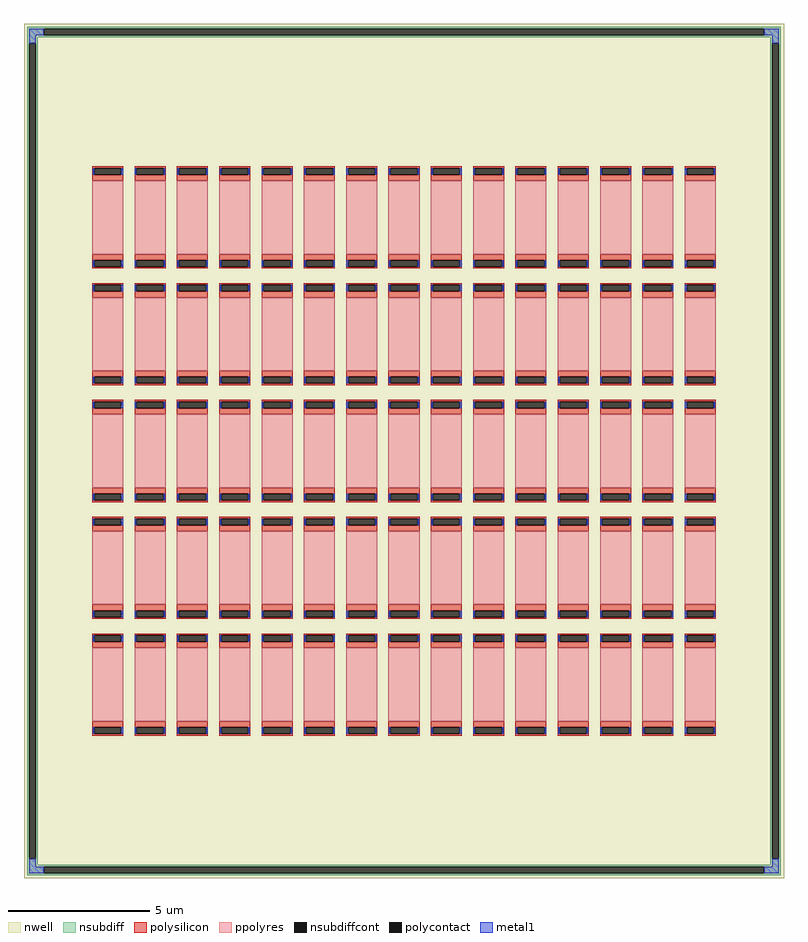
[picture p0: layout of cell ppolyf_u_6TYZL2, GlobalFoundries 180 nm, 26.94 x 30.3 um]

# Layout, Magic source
magic
tech gf180mcuC
magscale 1 10
<< nwell >>
rect -2694 -3030 2694 3030
<< nsubdiff >>
rect -2670 2993 2670 3006
rect -2670 2947 -2554 2993
rect 2554 2947 2670 2993
rect -2670 2934 2670 2947
rect -2670 2890 -2598 2934
rect -2670 -2890 -2657 2890
rect -2611 -2890 -2598 2890
rect 2598 2890 2670 2934
rect -2670 -2934 -2598 -2890
rect 2598 -2890 2611 2890
rect 2657 -2890 2670 2890
rect 2598 -2934 2670 -2890
rect -2670 -2947 2670 -2934
rect -2670 -2993 -2554 -2947
rect 2554 -2993 2670 -2947
rect -2670 -3006 2670 -2993
<< nsubdiffcont >>
rect -2554 2947 2554 2993
rect -2657 -2890 -2611 2890
rect 2611 -2890 2657 2890
rect -2554 -2993 2554 -2947
<< polysilicon >>
rect -2210 2005 -1990 2018
rect -2210 1959 -2197 2005
rect -2003 1959 -1990 2005
rect -2210 1916 -1990 1959
rect -2210 1353 -1990 1396
rect -2210 1307 -2197 1353
rect -2003 1307 -1990 1353
rect -2210 1294 -1990 1307
rect -1910 2005 -1690 2018
rect -1910 1959 -1897 2005
rect -1703 1959 -1690 2005
rect -1910 1916 -1690 1959
rect -1910 1353 -1690 1396
rect -1910 1307 -1897 1353
rect -1703 1307 -1690 1353
rect -1910 1294 -1690 1307
rect -1610 2005 -1390 2018
rect -1610 1959 -1597 2005
rect -1403 1959 -1390 2005
rect -1610 1916 -1390 1959
rect -1610 1353 -1390 1396
rect -1610 1307 -1597 1353
rect -1403 1307 -1390 1353
rect -1610 1294 -1390 1307
rect -1310 2005 -1090 2018
rect -1310 1959 -1297 2005
rect -1103 1959 -1090 2005
rect -1310 1916 -1090 1959
rect -1310 1353 -1090 1396
rect -1310 1307 -1297 1353
rect -1103 1307 -1090 1353
rect -1310 1294 -1090 1307
rect -1010 2005 -790 2018
rect -1010 1959 -997 2005
rect -803 1959 -790 2005
rect -1010 1916 -790 1959
rect -1010 1353 -790 1396
rect -1010 1307 -997 1353
rect -803 1307 -790 1353
rect -1010 1294 -790 1307
rect -710 2005 -490 2018
rect -710 1959 -697 2005
rect -503 1959 -490 2005
rect -710 1916 -490 1959
rect -710 1353 -490 1396
rect -710 1307 -697 1353
rect -503 1307 -490 1353
rect -710 1294 -490 1307
rect -410 2005 -190 2018
rect -410 1959 -397 2005
rect -203 1959 -190 2005
rect -410 1916 -190 1959
rect -410 1353 -190 1396
rect -410 1307 -397 1353
rect -203 1307 -190 1353
rect -410 1294 -190 1307
rect -110 2005 110 2018
rect -110 1959 -97 2005
rect 97 1959 110 2005
rect -110 1916 110 1959
rect -110 1353 110 1396
rect -110 1307 -97 1353
rect 97 1307 110 1353
rect -110 1294 110 1307
rect 190 2005 410 2018
rect 190 1959 203 2005
rect 397 1959 410 2005
rect 190 1916 410 1959
rect 190 1353 410 1396
rect 190 1307 203 1353
rect 397 1307 410 1353
rect 190 1294 410 1307
rect 490 2005 710 2018
rect 490 1959 503 2005
rect 697 1959 710 2005
rect 490 1916 710 1959
rect 490 1353 710 1396
rect 490 1307 503 1353
rect 697 1307 710 1353
rect 490 1294 710 1307
rect 790 2005 1010 2018
rect 790 1959 803 2005
rect 997 1959 1010 2005
rect 790 1916 1010 1959
rect 790 1353 1010 1396
rect 790 1307 803 1353
rect 997 1307 1010 1353
rect 790 1294 1010 1307
rect 1090 2005 1310 2018
rect 1090 1959 1103 2005
rect 1297 1959 1310 2005
rect 1090 1916 1310 1959
rect 1090 1353 1310 1396
rect 1090 1307 1103 1353
rect 1297 1307 1310 1353
rect 1090 1294 1310 1307
rect 1390 2005 1610 2018
rect 1390 1959 1403 2005
rect 1597 1959 1610 2005
rect 1390 1916 1610 1959
rect 1390 1353 1610 1396
rect 1390 1307 1403 1353
rect 1597 1307 1610 1353
rect 1390 1294 1610 1307
rect 1690 2005 1910 2018
rect 1690 1959 1703 2005
rect 1897 1959 1910 2005
rect 1690 1916 1910 1959
rect 1690 1353 1910 1396
rect 1690 1307 1703 1353
rect 1897 1307 1910 1353
rect 1690 1294 1910 1307
rect 1990 2005 2210 2018
rect 1990 1959 2003 2005
rect 2197 1959 2210 2005
rect 1990 1916 2210 1959
rect 1990 1353 2210 1396
rect 1990 1307 2003 1353
rect 2197 1307 2210 1353
rect 1990 1294 2210 1307
rect -2210 1177 -1990 1190
rect -2210 1131 -2197 1177
rect -2003 1131 -1990 1177
rect -2210 1088 -1990 1131
rect -2210 525 -1990 568
rect -2210 479 -2197 525
rect -2003 479 -1990 525
rect -2210 466 -1990 479
rect -1910 1177 -1690 1190
rect -1910 1131 -1897 1177
rect -1703 1131 -1690 1177
rect -1910 1088 -1690 1131
rect -1910 525 -1690 568
rect -1910 479 -1897 525
rect -1703 479 -1690 525
rect -1910 466 -1690 479
rect -1610 1177 -1390 1190
rect -1610 1131 -1597 1177
rect -1403 1131 -1390 1177
rect -1610 1088 -1390 1131
rect -1610 525 -1390 568
rect -1610 479 -1597 525
rect -1403 479 -1390 525
rect -1610 466 -1390 479
rect -1310 1177 -1090 1190
rect -1310 1131 -1297 1177
rect -1103 1131 -1090 1177
rect -1310 1088 -1090 1131
rect -1310 525 -1090 568
rect -1310 479 -1297 525
rect -1103 479 -1090 525
rect -1310 466 -1090 479
rect -1010 1177 -790 1190
rect -1010 1131 -997 1177
rect -803 1131 -790 1177
rect -1010 1088 -790 1131
rect -1010 525 -790 568
rect -1010 479 -997 525
rect -803 479 -790 525
rect -1010 466 -790 479
rect -710 1177 -490 1190
rect -710 1131 -697 1177
rect -503 1131 -490 1177
rect -710 1088 -490 1131
rect -710 525 -490 568
rect -710 479 -697 525
rect -503 479 -490 525
rect -710 466 -490 479
rect -410 1177 -190 1190
rect -410 1131 -397 1177
rect -203 1131 -190 1177
rect -410 1088 -190 1131
rect -410 525 -190 568
rect -410 479 -397 525
rect -203 479 -190 525
rect -410 466 -190 479
rect -110 1177 110 1190
rect -110 1131 -97 1177
rect 97 1131 110 1177
rect -110 1088 110 1131
rect -110 525 110 568
rect -110 479 -97 525
rect 97 479 110 525
rect -110 466 110 479
rect 190 1177 410 1190
rect 190 1131 203 1177
rect 397 1131 410 1177
rect 190 1088 410 1131
rect 190 525 410 568
rect 190 479 203 525
rect 397 479 410 525
rect 190 466 410 479
rect 490 1177 710 1190
rect 490 1131 503 1177
rect 697 1131 710 1177
rect 490 1088 710 1131
rect 490 525 710 568
rect 490 479 503 525
rect 697 479 710 525
rect 490 466 710 479
rect 790 1177 1010 1190
rect 790 1131 803 1177
rect 997 1131 1010 1177
rect 790 1088 1010 1131
rect 790 525 1010 568
rect 790 479 803 525
rect 997 479 1010 525
rect 790 466 1010 479
rect 1090 1177 1310 1190
rect 1090 1131 1103 1177
rect 1297 1131 1310 1177
rect 1090 1088 1310 1131
rect 1090 525 1310 568
rect 1090 479 1103 525
rect 1297 479 1310 525
rect 1090 466 1310 479
rect 1390 1177 1610 1190
rect 1390 1131 1403 1177
rect 1597 1131 1610 1177
rect 1390 1088 1610 1131
rect 1390 525 1610 568
rect 1390 479 1403 525
rect 1597 479 1610 525
rect 1390 466 1610 479
rect 1690 1177 1910 1190
rect 1690 1131 1703 1177
rect 1897 1131 1910 1177
rect 1690 1088 1910 1131
rect 1690 525 1910 568
rect 1690 479 1703 525
rect 1897 479 1910 525
rect 1690 466 1910 479
rect 1990 1177 2210 1190
rect 1990 1131 2003 1177
rect 2197 1131 2210 1177
rect 1990 1088 2210 1131
rect 1990 525 2210 568
rect 1990 479 2003 525
rect 2197 479 2210 525
rect 1990 466 2210 479
rect -2210 349 -1990 362
rect -2210 303 -2197 349
rect -2003 303 -1990 349
rect -2210 260 -1990 303
rect -2210 -303 -1990 -260
rect -2210 -349 -2197 -303
rect -2003 -349 -1990 -303
rect -2210 -362 -1990 -349
rect -1910 349 -1690 362
rect -1910 303 -1897 349
rect -1703 303 -1690 349
rect -1910 260 -1690 303
rect -1910 -303 -1690 -260
rect -1910 -349 -1897 -303
rect -1703 -349 -1690 -303
rect -1910 -362 -1690 -349
rect -1610 349 -1390 362
rect -1610 303 -1597 349
rect -1403 303 -1390 349
rect -1610 260 -1390 303
rect -1610 -303 -1390 -260
rect -1610 -349 -1597 -303
rect -1403 -349 -1390 -303
rect -1610 -362 -1390 -349
rect -1310 349 -1090 362
rect -1310 303 -1297 349
rect -1103 303 -1090 349
rect -1310 260 -1090 303
rect -1310 -303 -1090 -260
rect -1310 -349 -1297 -303
rect -1103 -349 -1090 -303
rect -1310 -362 -1090 -349
rect -1010 349 -790 362
rect -1010 303 -997 349
rect -803 303 -790 349
rect -1010 260 -790 303
rect -1010 -303 -790 -260
rect -1010 -349 -997 -303
rect -803 -349 -790 -303
rect -1010 -362 -790 -349
rect -710 349 -490 362
rect -710 303 -697 349
rect -503 303 -490 349
rect -710 260 -490 303
rect -710 -303 -490 -260
rect -710 -349 -697 -303
rect -503 -349 -490 -303
rect -710 -362 -490 -349
rect -410 349 -190 362
rect -410 303 -397 349
rect -203 303 -190 349
rect -410 260 -190 303
rect -410 -303 -190 -260
rect -410 -349 -397 -303
rect -203 -349 -190 -303
rect -410 -362 -190 -349
rect -110 349 110 362
rect -110 303 -97 349
rect 97 303 110 349
rect -110 260 110 303
rect -110 -303 110 -260
rect -110 -349 -97 -303
rect 97 -349 110 -303
rect -110 -362 110 -349
rect 190 349 410 362
rect 190 303 203 349
rect 397 303 410 349
rect 190 260 410 303
rect 190 -303 410 -260
rect 190 -349 203 -303
rect 397 -349 410 -303
rect 190 -362 410 -349
rect 490 349 710 362
rect 490 303 503 349
rect 697 303 710 349
rect 490 260 710 303
rect 490 -303 710 -260
rect 490 -349 503 -303
rect 697 -349 710 -303
rect 490 -362 710 -349
rect 790 349 1010 362
rect 790 303 803 349
rect 997 303 1010 349
rect 790 260 1010 303
rect 790 -303 1010 -260
rect 790 -349 803 -303
rect 997 -349 1010 -303
rect 790 -362 1010 -349
rect 1090 349 1310 362
rect 1090 303 1103 349
rect 1297 303 1310 349
rect 1090 260 1310 303
rect 1090 -303 1310 -260
rect 1090 -349 1103 -303
rect 1297 -349 1310 -303
rect 1090 -362 1310 -349
rect 1390 349 1610 362
rect 1390 303 1403 349
rect 1597 303 1610 349
rect 1390 260 1610 303
rect 1390 -303 1610 -260
rect 1390 -349 1403 -303
rect 1597 -349 1610 -303
rect 1390 -362 1610 -349
rect 1690 349 1910 362
rect 1690 303 1703 349
rect 1897 303 1910 349
rect 1690 260 1910 303
rect 1690 -303 1910 -260
rect 1690 -349 1703 -303
rect 1897 -349 1910 -303
rect 1690 -362 1910 -349
rect 1990 349 2210 362
rect 1990 303 2003 349
rect 2197 303 2210 349
rect 1990 260 2210 303
rect 1990 -303 2210 -260
rect 1990 -349 2003 -303
rect 2197 -349 2210 -303
rect 1990 -362 2210 -349
rect -2210 -479 -1990 -466
rect -2210 -525 -2197 -479
rect -2003 -525 -1990 -479
rect -2210 -568 -1990 -525
rect -2210 -1131 -1990 -1088
rect -2210 -1177 -2197 -1131
rect -2003 -1177 -1990 -1131
rect -2210 -1190 -1990 -1177
rect -1910 -479 -1690 -466
rect -1910 -525 -1897 -479
rect -1703 -525 -1690 -479
rect -1910 -568 -1690 -525
rect -1910 -1131 -1690 -1088
rect -1910 -1177 -1897 -1131
rect -1703 -1177 -1690 -1131
rect -1910 -1190 -1690 -1177
rect -1610 -479 -1390 -466
rect -1610 -525 -1597 -479
rect -1403 -525 -1390 -479
rect -1610 -568 -1390 -525
rect -1610 -1131 -1390 -1088
rect -1610 -1177 -1597 -1131
rect -1403 -1177 -1390 -1131
rect -1610 -1190 -1390 -1177
rect -1310 -479 -1090 -466
rect -1310 -525 -1297 -479
rect -1103 -525 -1090 -479
rect -1310 -568 -1090 -525
rect -1310 -1131 -1090 -1088
rect -1310 -1177 -1297 -1131
rect -1103 -1177 -1090 -1131
rect -1310 -1190 -1090 -1177
rect -1010 -479 -790 -466
rect -1010 -525 -997 -479
rect -803 -525 -790 -479
rect -1010 -568 -790 -525
rect -1010 -1131 -790 -1088
rect -1010 -1177 -997 -1131
rect -803 -1177 -790 -1131
rect -1010 -1190 -790 -1177
rect -710 -479 -490 -466
rect -710 -525 -697 -479
rect -503 -525 -490 -479
rect -710 -568 -490 -525
rect -710 -1131 -490 -1088
rect -710 -1177 -697 -1131
rect -503 -1177 -490 -1131
rect -710 -1190 -490 -1177
rect -410 -479 -190 -466
rect -410 -525 -397 -479
rect -203 -525 -190 -479
rect -410 -568 -190 -525
rect -410 -1131 -190 -1088
rect -410 -1177 -397 -1131
rect -203 -1177 -190 -1131
rect -410 -1190 -190 -1177
rect -110 -479 110 -466
rect -110 -525 -97 -479
rect 97 -525 110 -479
rect -110 -568 110 -525
rect -110 -1131 110 -1088
rect -110 -1177 -97 -1131
rect 97 -1177 110 -1131
rect -110 -1190 110 -1177
rect 190 -479 410 -466
rect 190 -525 203 -479
rect 397 -525 410 -479
rect 190 -568 410 -525
rect 190 -1131 410 -1088
rect 190 -1177 203 -1131
rect 397 -1177 410 -1131
rect 190 -1190 410 -1177
rect 490 -479 710 -466
rect 490 -525 503 -479
rect 697 -525 710 -479
rect 490 -568 710 -525
rect 490 -1131 710 -1088
rect 490 -1177 503 -1131
rect 697 -1177 710 -1131
rect 490 -1190 710 -1177
rect 790 -479 1010 -466
rect 790 -525 803 -479
rect 997 -525 1010 -479
rect 790 -568 1010 -525
rect 790 -1131 1010 -1088
rect 790 -1177 803 -1131
rect 997 -1177 1010 -1131
rect 790 -1190 1010 -1177
rect 1090 -479 1310 -466
rect 1090 -525 1103 -479
rect 1297 -525 1310 -479
rect 1090 -568 1310 -525
rect 1090 -1131 1310 -1088
rect 1090 -1177 1103 -1131
rect 1297 -1177 1310 -1131
rect 1090 -1190 1310 -1177
rect 1390 -479 1610 -466
rect 1390 -525 1403 -479
rect 1597 -525 1610 -479
rect 1390 -568 1610 -525
rect 1390 -1131 1610 -1088
rect 1390 -1177 1403 -1131
rect 1597 -1177 1610 -1131
rect 1390 -1190 1610 -1177
rect 1690 -479 1910 -466
rect 1690 -525 1703 -479
rect 1897 -525 1910 -479
rect 1690 -568 1910 -525
rect 1690 -1131 1910 -1088
rect 1690 -1177 1703 -1131
rect 1897 -1177 1910 -1131
rect 1690 -1190 1910 -1177
rect 1990 -479 2210 -466
rect 1990 -525 2003 -479
rect 2197 -525 2210 -479
rect 1990 -568 2210 -525
rect 1990 -1131 2210 -1088
rect 1990 -1177 2003 -1131
rect 2197 -1177 2210 -1131
rect 1990 -1190 2210 -1177
rect -2210 -1307 -1990 -1294
rect -2210 -1353 -2197 -1307
rect -2003 -1353 -1990 -1307
rect -2210 -1396 -1990 -1353
rect -2210 -1959 -1990 -1916
rect -2210 -2005 -2197 -1959
rect -2003 -2005 -1990 -1959
rect -2210 -2018 -1990 -2005
rect -1910 -1307 -1690 -1294
rect -1910 -1353 -1897 -1307
rect -1703 -1353 -1690 -1307
rect -1910 -1396 -1690 -1353
rect -1910 -1959 -1690 -1916
rect -1910 -2005 -1897 -1959
rect -1703 -2005 -1690 -1959
rect -1910 -2018 -1690 -2005
rect -1610 -1307 -1390 -1294
rect -1610 -1353 -1597 -1307
rect -1403 -1353 -1390 -1307
rect -1610 -1396 -1390 -1353
rect -1610 -1959 -1390 -1916
rect -1610 -2005 -1597 -1959
rect -1403 -2005 -1390 -1959
rect -1610 -2018 -1390 -2005
rect -1310 -1307 -1090 -1294
rect -1310 -1353 -1297 -1307
rect -1103 -1353 -1090 -1307
rect -1310 -1396 -1090 -1353
rect -1310 -1959 -1090 -1916
rect -1310 -2005 -1297 -1959
rect -1103 -2005 -1090 -1959
rect -1310 -2018 -1090 -2005
rect -1010 -1307 -790 -1294
rect -1010 -1353 -997 -1307
rect -803 -1353 -790 -1307
rect -1010 -1396 -790 -1353
rect -1010 -1959 -790 -1916
rect -1010 -2005 -997 -1959
rect -803 -2005 -790 -1959
rect -1010 -2018 -790 -2005
rect -710 -1307 -490 -1294
rect -710 -1353 -697 -1307
rect -503 -1353 -490 -1307
rect -710 -1396 -490 -1353
rect -710 -1959 -490 -1916
rect -710 -2005 -697 -1959
rect -503 -2005 -490 -1959
rect -710 -2018 -490 -2005
rect -410 -1307 -190 -1294
rect -410 -1353 -397 -1307
rect -203 -1353 -190 -1307
rect -410 -1396 -190 -1353
rect -410 -1959 -190 -1916
rect -410 -2005 -397 -1959
rect -203 -2005 -190 -1959
rect -410 -2018 -190 -2005
rect -110 -1307 110 -1294
rect -110 -1353 -97 -1307
rect 97 -1353 110 -1307
rect -110 -1396 110 -1353
rect -110 -1959 110 -1916
rect -110 -2005 -97 -1959
rect 97 -2005 110 -1959
rect -110 -2018 110 -2005
rect 190 -1307 410 -1294
rect 190 -1353 203 -1307
rect 397 -1353 410 -1307
rect 190 -1396 410 -1353
rect 190 -1959 410 -1916
rect 190 -2005 203 -1959
rect 397 -2005 410 -1959
rect 190 -2018 410 -2005
rect 490 -1307 710 -1294
rect 490 -1353 503 -1307
rect 697 -1353 710 -1307
rect 490 -1396 710 -1353
rect 490 -1959 710 -1916
rect 490 -2005 503 -1959
rect 697 -2005 710 -1959
rect 490 -2018 710 -2005
rect 790 -1307 1010 -1294
rect 790 -1353 803 -1307
rect 997 -1353 1010 -1307
rect 790 -1396 1010 -1353
rect 790 -1959 1010 -1916
rect 790 -2005 803 -1959
rect 997 -2005 1010 -1959
rect 790 -2018 1010 -2005
rect 1090 -1307 1310 -1294
rect 1090 -1353 1103 -1307
rect 1297 -1353 1310 -1307
rect 1090 -1396 1310 -1353
rect 1090 -1959 1310 -1916
rect 1090 -2005 1103 -1959
rect 1297 -2005 1310 -1959
rect 1090 -2018 1310 -2005
rect 1390 -1307 1610 -1294
rect 1390 -1353 1403 -1307
rect 1597 -1353 1610 -1307
rect 1390 -1396 1610 -1353
rect 1390 -1959 1610 -1916
rect 1390 -2005 1403 -1959
rect 1597 -2005 1610 -1959
rect 1390 -2018 1610 -2005
rect 1690 -1307 1910 -1294
rect 1690 -1353 1703 -1307
rect 1897 -1353 1910 -1307
rect 1690 -1396 1910 -1353
rect 1690 -1959 1910 -1916
rect 1690 -2005 1703 -1959
rect 1897 -2005 1910 -1959
rect 1690 -2018 1910 -2005
rect 1990 -1307 2210 -1294
rect 1990 -1353 2003 -1307
rect 2197 -1353 2210 -1307
rect 1990 -1396 2210 -1353
rect 1990 -1959 2210 -1916
rect 1990 -2005 2003 -1959
rect 2197 -2005 2210 -1959
rect 1990 -2018 2210 -2005
<< polycontact >>
rect -2197 1959 -2003 2005
rect -2197 1307 -2003 1353
rect -1897 1959 -1703 2005
rect -1897 1307 -1703 1353
rect -1597 1959 -1403 2005
rect -1597 1307 -1403 1353
rect -1297 1959 -1103 2005
rect -1297 1307 -1103 1353
rect -997 1959 -803 2005
rect -997 1307 -803 1353
rect -697 1959 -503 2005
rect -697 1307 -503 1353
rect -397 1959 -203 2005
rect -397 1307 -203 1353
rect -97 1959 97 2005
rect -97 1307 97 1353
rect 203 1959 397 2005
rect 203 1307 397 1353
rect 503 1959 697 2005
rect 503 1307 697 1353
rect 803 1959 997 2005
rect 803 1307 997 1353
rect 1103 1959 1297 2005
rect 1103 1307 1297 1353
rect 1403 1959 1597 2005
rect 1403 1307 1597 1353
rect 1703 1959 1897 2005
rect 1703 1307 1897 1353
rect 2003 1959 2197 2005
rect 2003 1307 2197 1353
rect -2197 1131 -2003 1177
rect -2197 479 -2003 525
rect -1897 1131 -1703 1177
rect -1897 479 -1703 525
rect -1597 1131 -1403 1177
rect -1597 479 -1403 525
rect -1297 1131 -1103 1177
rect -1297 479 -1103 525
rect -997 1131 -803 1177
rect -997 479 -803 525
rect -697 1131 -503 1177
rect -697 479 -503 525
rect -397 1131 -203 1177
rect -397 479 -203 525
rect -97 1131 97 1177
rect -97 479 97 525
rect 203 1131 397 1177
rect 203 479 397 525
rect 503 1131 697 1177
rect 503 479 697 525
rect 803 1131 997 1177
rect 803 479 997 525
rect 1103 1131 1297 1177
rect 1103 479 1297 525
rect 1403 1131 1597 1177
rect 1403 479 1597 525
rect 1703 1131 1897 1177
rect 1703 479 1897 525
rect 2003 1131 2197 1177
rect 2003 479 2197 525
rect -2197 303 -2003 349
rect -2197 -349 -2003 -303
rect -1897 303 -1703 349
rect -1897 -349 -1703 -303
rect -1597 303 -1403 349
rect -1597 -349 -1403 -303
rect -1297 303 -1103 349
rect -1297 -349 -1103 -303
rect -997 303 -803 349
rect -997 -349 -803 -303
rect -697 303 -503 349
rect -697 -349 -503 -303
rect -397 303 -203 349
rect -397 -349 -203 -303
rect -97 303 97 349
rect -97 -349 97 -303
rect 203 303 397 349
rect 203 -349 397 -303
rect 503 303 697 349
rect 503 -349 697 -303
rect 803 303 997 349
rect 803 -349 997 -303
rect 1103 303 1297 349
rect 1103 -349 1297 -303
rect 1403 303 1597 349
rect 1403 -349 1597 -303
rect 1703 303 1897 349
rect 1703 -349 1897 -303
rect 2003 303 2197 349
rect 2003 -349 2197 -303
rect -2197 -525 -2003 -479
rect -2197 -1177 -2003 -1131
rect -1897 -525 -1703 -479
rect -1897 -1177 -1703 -1131
rect -1597 -525 -1403 -479
rect -1597 -1177 -1403 -1131
rect -1297 -525 -1103 -479
rect -1297 -1177 -1103 -1131
rect -997 -525 -803 -479
rect -997 -1177 -803 -1131
rect -697 -525 -503 -479
rect -697 -1177 -503 -1131
rect -397 -525 -203 -479
rect -397 -1177 -203 -1131
rect -97 -525 97 -479
rect -97 -1177 97 -1131
rect 203 -525 397 -479
rect 203 -1177 397 -1131
rect 503 -525 697 -479
rect 503 -1177 697 -1131
rect 803 -525 997 -479
rect 803 -1177 997 -1131
rect 1103 -525 1297 -479
rect 1103 -1177 1297 -1131
rect 1403 -525 1597 -479
rect 1403 -1177 1597 -1131
rect 1703 -525 1897 -479
rect 1703 -1177 1897 -1131
rect 2003 -525 2197 -479
rect 2003 -1177 2197 -1131
rect -2197 -1353 -2003 -1307
rect -2197 -2005 -2003 -1959
rect -1897 -1353 -1703 -1307
rect -1897 -2005 -1703 -1959
rect -1597 -1353 -1403 -1307
rect -1597 -2005 -1403 -1959
rect -1297 -1353 -1103 -1307
rect -1297 -2005 -1103 -1959
rect -997 -1353 -803 -1307
rect -997 -2005 -803 -1959
rect -697 -1353 -503 -1307
rect -697 -2005 -503 -1959
rect -397 -1353 -203 -1307
rect -397 -2005 -203 -1959
rect -97 -1353 97 -1307
rect -97 -2005 97 -1959
rect 203 -1353 397 -1307
rect 203 -2005 397 -1959
rect 503 -1353 697 -1307
rect 503 -2005 697 -1959
rect 803 -1353 997 -1307
rect 803 -2005 997 -1959
rect 1103 -1353 1297 -1307
rect 1103 -2005 1297 -1959
rect 1403 -1353 1597 -1307
rect 1403 -2005 1597 -1959
rect 1703 -1353 1897 -1307
rect 1703 -2005 1897 -1959
rect 2003 -1353 2197 -1307
rect 2003 -2005 2197 -1959
<< ppolyres >>
rect -2210 1396 -1990 1916
rect -1910 1396 -1690 1916
rect -1610 1396 -1390 1916
rect -1310 1396 -1090 1916
rect -1010 1396 -790 1916
rect -710 1396 -490 1916
rect -410 1396 -190 1916
rect -110 1396 110 1916
rect 190 1396 410 1916
rect 490 1396 710 1916
rect 790 1396 1010 1916
rect 1090 1396 1310 1916
rect 1390 1396 1610 1916
rect 1690 1396 1910 1916
rect 1990 1396 2210 1916
rect -2210 568 -1990 1088
rect -1910 568 -1690 1088
rect -1610 568 -1390 1088
rect -1310 568 -1090 1088
rect -1010 568 -790 1088
rect -710 568 -490 1088
rect -410 568 -190 1088
rect -110 568 110 1088
rect 190 568 410 1088
rect 490 568 710 1088
rect 790 568 1010 1088
rect 1090 568 1310 1088
rect 1390 568 1610 1088
rect 1690 568 1910 1088
rect 1990 568 2210 1088
rect -2210 -260 -1990 260
rect -1910 -260 -1690 260
rect -1610 -260 -1390 260
rect -1310 -260 -1090 260
rect -1010 -260 -790 260
rect -710 -260 -490 260
rect -410 -260 -190 260
rect -110 -260 110 260
rect 190 -260 410 260
rect 490 -260 710 260
rect 790 -260 1010 260
rect 1090 -260 1310 260
rect 1390 -260 1610 260
rect 1690 -260 1910 260
rect 1990 -260 2210 260
rect -2210 -1088 -1990 -568
rect -1910 -1088 -1690 -568
rect -1610 -1088 -1390 -568
rect -1310 -1088 -1090 -568
rect -1010 -1088 -790 -568
rect -710 -1088 -490 -568
rect -410 -1088 -190 -568
rect -110 -1088 110 -568
rect 190 -1088 410 -568
rect 490 -1088 710 -568
rect 790 -1088 1010 -568
rect 1090 -1088 1310 -568
rect 1390 -1088 1610 -568
rect 1690 -1088 1910 -568
rect 1990 -1088 2210 -568
rect -2210 -1916 -1990 -1396
rect -1910 -1916 -1690 -1396
rect -1610 -1916 -1390 -1396
rect -1310 -1916 -1090 -1396
rect -1010 -1916 -790 -1396
rect -710 -1916 -490 -1396
rect -410 -1916 -190 -1396
rect -110 -1916 110 -1396
rect 190 -1916 410 -1396
rect 490 -1916 710 -1396
rect 790 -1916 1010 -1396
rect 1090 -1916 1310 -1396
rect 1390 -1916 1610 -1396
rect 1690 -1916 1910 -1396
rect 1990 -1916 2210 -1396
<< metal1 >>
rect -2657 2947 -2554 2993
rect 2554 2947 2657 2993
rect -2657 2890 -2611 2947
rect 2611 2890 2657 2947
rect -2208 1959 -2197 2005
rect -2003 1959 -1992 2005
rect -1908 1959 -1897 2005
rect -1703 1959 -1692 2005
rect -1608 1959 -1597 2005
rect -1403 1959 -1392 2005
rect -1308 1959 -1297 2005
rect -1103 1959 -1092 2005
rect -1008 1959 -997 2005
rect -803 1959 -792 2005
rect -708 1959 -697 2005
rect -503 1959 -492 2005
rect -408 1959 -397 2005
rect -203 1959 -192 2005
rect -108 1959 -97 2005
rect 97 1959 108 2005
rect 192 1959 203 2005
rect 397 1959 408 2005
rect 492 1959 503 2005
rect 697 1959 708 2005
rect 792 1959 803 2005
rect 997 1959 1008 2005
rect 1092 1959 1103 2005
rect 1297 1959 1308 2005
rect 1392 1959 1403 2005
rect 1597 1959 1608 2005
rect 1692 1959 1703 2005
rect 1897 1959 1908 2005
rect 1992 1959 2003 2005
rect 2197 1959 2208 2005
rect -2208 1307 -2197 1353
rect -2003 1307 -1992 1353
rect -1908 1307 -1897 1353
rect -1703 1307 -1692 1353
rect -1608 1307 -1597 1353
rect -1403 1307 -1392 1353
rect -1308 1307 -1297 1353
rect -1103 1307 -1092 1353
rect -1008 1307 -997 1353
rect -803 1307 -792 1353
rect -708 1307 -697 1353
rect -503 1307 -492 1353
rect -408 1307 -397 1353
rect -203 1307 -192 1353
rect -108 1307 -97 1353
rect 97 1307 108 1353
rect 192 1307 203 1353
rect 397 1307 408 1353
rect 492 1307 503 1353
rect 697 1307 708 1353
rect 792 1307 803 1353
rect 997 1307 1008 1353
rect 1092 1307 1103 1353
rect 1297 1307 1308 1353
rect 1392 1307 1403 1353
rect 1597 1307 1608 1353
rect 1692 1307 1703 1353
rect 1897 1307 1908 1353
rect 1992 1307 2003 1353
rect 2197 1307 2208 1353
rect -2208 1131 -2197 1177
rect -2003 1131 -1992 1177
rect -1908 1131 -1897 1177
rect -1703 1131 -1692 1177
rect -1608 1131 -1597 1177
rect -1403 1131 -1392 1177
rect -1308 1131 -1297 1177
rect -1103 1131 -1092 1177
rect -1008 1131 -997 1177
rect -803 1131 -792 1177
rect -708 1131 -697 1177
rect -503 1131 -492 1177
rect -408 1131 -397 1177
rect -203 1131 -192 1177
rect -108 1131 -97 1177
rect 97 1131 108 1177
rect 192 1131 203 1177
rect 397 1131 408 1177
rect 492 1131 503 1177
rect 697 1131 708 1177
rect 792 1131 803 1177
rect 997 1131 1008 1177
rect 1092 1131 1103 1177
rect 1297 1131 1308 1177
rect 1392 1131 1403 1177
rect 1597 1131 1608 1177
rect 1692 1131 1703 1177
rect 1897 1131 1908 1177
rect 1992 1131 2003 1177
rect 2197 1131 2208 1177
rect -2208 479 -2197 525
rect -2003 479 -1992 525
rect -1908 479 -1897 525
rect -1703 479 -1692 525
rect -1608 479 -1597 525
rect -1403 479 -1392 525
rect -1308 479 -1297 525
rect -1103 479 -1092 525
rect -1008 479 -997 525
rect -803 479 -792 525
rect -708 479 -697 525
rect -503 479 -492 525
rect -408 479 -397 525
rect -203 479 -192 525
rect -108 479 -97 525
rect 97 479 108 525
rect 192 479 203 525
rect 397 479 408 525
rect 492 479 503 525
rect 697 479 708 525
rect 792 479 803 525
rect 997 479 1008 525
rect 1092 479 1103 525
rect 1297 479 1308 525
rect 1392 479 1403 525
rect 1597 479 1608 525
rect 1692 479 1703 525
rect 1897 479 1908 525
rect 1992 479 2003 525
rect 2197 479 2208 525
rect -2208 303 -2197 349
rect -2003 303 -1992 349
rect -1908 303 -1897 349
rect -1703 303 -1692 349
rect -1608 303 -1597 349
rect -1403 303 -1392 349
rect -1308 303 -1297 349
rect -1103 303 -1092 349
rect -1008 303 -997 349
rect -803 303 -792 349
rect -708 303 -697 349
rect -503 303 -492 349
rect -408 303 -397 349
rect -203 303 -192 349
rect -108 303 -97 349
rect 97 303 108 349
rect 192 303 203 349
rect 397 303 408 349
rect 492 303 503 349
rect 697 303 708 349
rect 792 303 803 349
rect 997 303 1008 349
rect 1092 303 1103 349
rect 1297 303 1308 349
rect 1392 303 1403 349
rect 1597 303 1608 349
rect 1692 303 1703 349
rect 1897 303 1908 349
rect 1992 303 2003 349
rect 2197 303 2208 349
rect -2208 -349 -2197 -303
rect -2003 -349 -1992 -303
rect -1908 -349 -1897 -303
rect -1703 -349 -1692 -303
rect -1608 -349 -1597 -303
rect -1403 -349 -1392 -303
rect -1308 -349 -1297 -303
rect -1103 -349 -1092 -303
rect -1008 -349 -997 -303
rect -803 -349 -792 -303
rect -708 -349 -697 -303
rect -503 -349 -492 -303
rect -408 -349 -397 -303
rect -203 -349 -192 -303
rect -108 -349 -97 -303
rect 97 -349 108 -303
rect 192 -349 203 -303
rect 397 -349 408 -303
rect 492 -349 503 -303
rect 697 -349 708 -303
rect 792 -349 803 -303
rect 997 -349 1008 -303
rect 1092 -349 1103 -303
rect 1297 -349 1308 -303
rect 1392 -349 1403 -303
rect 1597 -349 1608 -303
rect 1692 -349 1703 -303
rect 1897 -349 1908 -303
rect 1992 -349 2003 -303
rect 2197 -349 2208 -303
rect -2208 -525 -2197 -479
rect -2003 -525 -1992 -479
rect -1908 -525 -1897 -479
rect -1703 -525 -1692 -479
rect -1608 -525 -1597 -479
rect -1403 -525 -1392 -479
rect -1308 -525 -1297 -479
rect -1103 -525 -1092 -479
rect -1008 -525 -997 -479
rect -803 -525 -792 -479
rect -708 -525 -697 -479
rect -503 -525 -492 -479
rect -408 -525 -397 -479
rect -203 -525 -192 -479
rect -108 -525 -97 -479
rect 97 -525 108 -479
rect 192 -525 203 -479
rect 397 -525 408 -479
rect 492 -525 503 -479
rect 697 -525 708 -479
rect 792 -525 803 -479
rect 997 -525 1008 -479
rect 1092 -525 1103 -479
rect 1297 -525 1308 -479
rect 1392 -525 1403 -479
rect 1597 -525 1608 -479
rect 1692 -525 1703 -479
rect 1897 -525 1908 -479
rect 1992 -525 2003 -479
rect 2197 -525 2208 -479
rect -2208 -1177 -2197 -1131
rect -2003 -1177 -1992 -1131
rect -1908 -1177 -1897 -1131
rect -1703 -1177 -1692 -1131
rect -1608 -1177 -1597 -1131
rect -1403 -1177 -1392 -1131
rect -1308 -1177 -1297 -1131
rect -1103 -1177 -1092 -1131
rect -1008 -1177 -997 -1131
rect -803 -1177 -792 -1131
rect -708 -1177 -697 -1131
rect -503 -1177 -492 -1131
rect -408 -1177 -397 -1131
rect -203 -1177 -192 -1131
rect -108 -1177 -97 -1131
rect 97 -1177 108 -1131
rect 192 -1177 203 -1131
rect 397 -1177 408 -1131
rect 492 -1177 503 -1131
rect 697 -1177 708 -1131
rect 792 -1177 803 -1131
rect 997 -1177 1008 -1131
rect 1092 -1177 1103 -1131
rect 1297 -1177 1308 -1131
rect 1392 -1177 1403 -1131
rect 1597 -1177 1608 -1131
rect 1692 -1177 1703 -1131
rect 1897 -1177 1908 -1131
rect 1992 -1177 2003 -1131
rect 2197 -1177 2208 -1131
rect -2208 -1353 -2197 -1307
rect -2003 -1353 -1992 -1307
rect -1908 -1353 -1897 -1307
rect -1703 -1353 -1692 -1307
rect -1608 -1353 -1597 -1307
rect -1403 -1353 -1392 -1307
rect -1308 -1353 -1297 -1307
rect -1103 -1353 -1092 -1307
rect -1008 -1353 -997 -1307
rect -803 -1353 -792 -1307
rect -708 -1353 -697 -1307
rect -503 -1353 -492 -1307
rect -408 -1353 -397 -1307
rect -203 -1353 -192 -1307
rect -108 -1353 -97 -1307
rect 97 -1353 108 -1307
rect 192 -1353 203 -1307
rect 397 -1353 408 -1307
rect 492 -1353 503 -1307
rect 697 -1353 708 -1307
rect 792 -1353 803 -1307
rect 997 -1353 1008 -1307
rect 1092 -1353 1103 -1307
rect 1297 -1353 1308 -1307
rect 1392 -1353 1403 -1307
rect 1597 -1353 1608 -1307
rect 1692 -1353 1703 -1307
rect 1897 -1353 1908 -1307
rect 1992 -1353 2003 -1307
rect 2197 -1353 2208 -1307
rect -2208 -2005 -2197 -1959
rect -2003 -2005 -1992 -1959
rect -1908 -2005 -1897 -1959
rect -1703 -2005 -1692 -1959
rect -1608 -2005 -1597 -1959
rect -1403 -2005 -1392 -1959
rect -1308 -2005 -1297 -1959
rect -1103 -2005 -1092 -1959
rect -1008 -2005 -997 -1959
rect -803 -2005 -792 -1959
rect -708 -2005 -697 -1959
rect -503 -2005 -492 -1959
rect -408 -2005 -397 -1959
rect -203 -2005 -192 -1959
rect -108 -2005 -97 -1959
rect 97 -2005 108 -1959
rect 192 -2005 203 -1959
rect 397 -2005 408 -1959
rect 492 -2005 503 -1959
rect 697 -2005 708 -1959
rect 792 -2005 803 -1959
rect 997 -2005 1008 -1959
rect 1092 -2005 1103 -1959
rect 1297 -2005 1308 -1959
rect 1392 -2005 1403 -1959
rect 1597 -2005 1608 -1959
rect 1692 -2005 1703 -1959
rect 1897 -2005 1908 -1959
rect 1992 -2005 2003 -1959
rect 2197 -2005 2208 -1959
rect -2657 -2947 -2611 -2890
rect 2611 -2947 2657 -2890
rect -2657 -2993 -2554 -2947
rect 2554 -2993 2657 -2947
<< properties >>
string FIXED_BBOX -2634 -2970 2634 2970
string gencell ppolyf_u
string library gf180mcu
string parameters w 1.10 l 2.60 m 7 nx 17 wmin 0.80 lmin 1.00 rho 315 val 795.145 dummy 0 dw 0.07 term 0.0 sterm 0.0 caplen 0.4 snake 0 glc 1 grc 1 gtc 1 gbc 1 roverlap 0 endcov 100 full_metal 1
<< end >>
